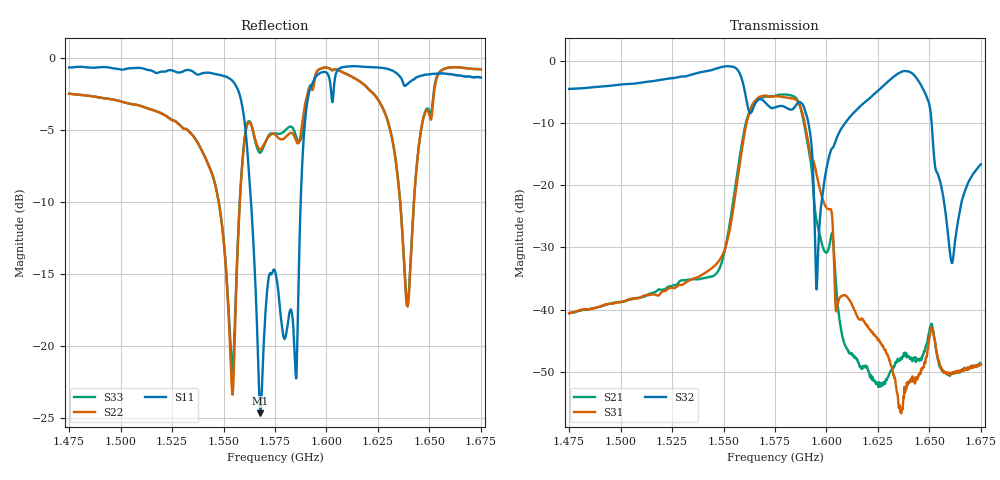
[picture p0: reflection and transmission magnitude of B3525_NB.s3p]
! Matrix data file written by TouchstoneData, EPCOS AG
! FILENAME: "B3525_NB.S3P_newformat"
! COMMENT: "(B3525_NB.S3P) Agilent Technologies,E5071B,M"
! INFO: nport=3, nfreq=1601
! DATE: "Wed May  5 13:07:29 2010"
! USER: "Sergey Rostovtsev"
! port | pin | signal
!  1  |  2  |  in
!  2  |  4  |  out
!  3  |  6  |  out
# MHZ S MA R 50
! freq  magS11 angS11  magS12 angS12  magS13 angS13  ...
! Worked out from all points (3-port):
!   1601 points, 1.475 GHz to 1.675 GHz, reference 50 ohm
!   strongest paths, dB at 1.475 GHz, 1.525 GHz, 1.575 GHz, 1.625 GHz, 1.675 GHz:
!     S32: -4.5, -2.8, -7.5, -4.8, -16.6
!     S31: -40.5, -36.5, -5.7, -44.9, -48.8
!     S21: -40.6, -36.2, -5.7, -52.0, -48.8
!   lowest |S11| = -24.7 dB at 1.568 GHz (marker M1), VSWR 1.12, Z = 55.2 - j3.2 ohm
!   |S11| at or under -10 dB: 1.563 GHz to 1.587 GHz (24.1 MHz wide, 1.53 % of centre)
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1475  0.9293 -147.7  0.009362 167.2  0.009426 167.6
      0.009357 167.2  0.7528 -80.9  0.5922 7.9
      0.009409 167.7  0.5923 7.9  0.7532 -80.0
1546.5  0.8805 112.0  0.01949 145.0  0.02326 99.5
        0.0195 145.0  0.3488 -109.1  0.8625 -24.7
        0.02324 99.5  0.8627 -24.7  0.3509 -106.4
1567.875  0.05828 -29.7  0.4983 -60.6  0.514 119.7
          0.4988 -60.8  0.4821 -46.9  0.4906 -47.2
          0.5137 119.7  0.49 -47.0  0.4699 -45.7
1575  0.1819 -27.5  0.5206 -167.3  0.5179 16.3
      0.5215 -167.4  0.5428 -49.0  0.4216 -46.4
      0.5171 16.3  0.4214 -46.6  0.5473 -45.7
1590.25  0.6702 29.9  0.2443 -53.8  0.2655 126.6
         0.2442 -54.0  0.7229 -31.6  0.3677 -93.2
         0.2653 126.6  0.3668 -93.2  0.7098 -28.8
1595.375  0.8712 -14.0  0.04999 -115.2  0.1178 74.2
          0.04994 -115.2  0.897 -41.4  0.01594 -41.6
          0.1178 74.3  0.01593 -41.8  0.8993 -41.2
1610.75  0.9368 -58.5  0.004581 62.2  0.01224 37.4
         0.004561 62.2  0.8738 -68.5  0.3436 17.3
         0.01224 37.4  0.3434 17.3  0.8741 -67.2
1643.625  0.8567 -89.3  0.003991 71.6  0.002843 60.2
          0.003983 71.7  0.4052 -7.8  0.7273 -76.3
          0.00279 61.0  0.727 -76.3  0.4072 -6.7
1660.875  0.8791 -99.0  0.003052 174.3  0.003135 175.6
          0.003055 174.4  0.9307 -44.4  0.02373 -48.2
          0.003137 176.1  0.02369 -48.1  0.9306 -43.4
1675  0.8579 -103.1  0.00364 161.5  0.003631 163.0
      0.003647 161.7  0.9154 -56.0  0.1472 20.8
      0.003644 162.4  0.1471 20.9  0.9154 -54.7
